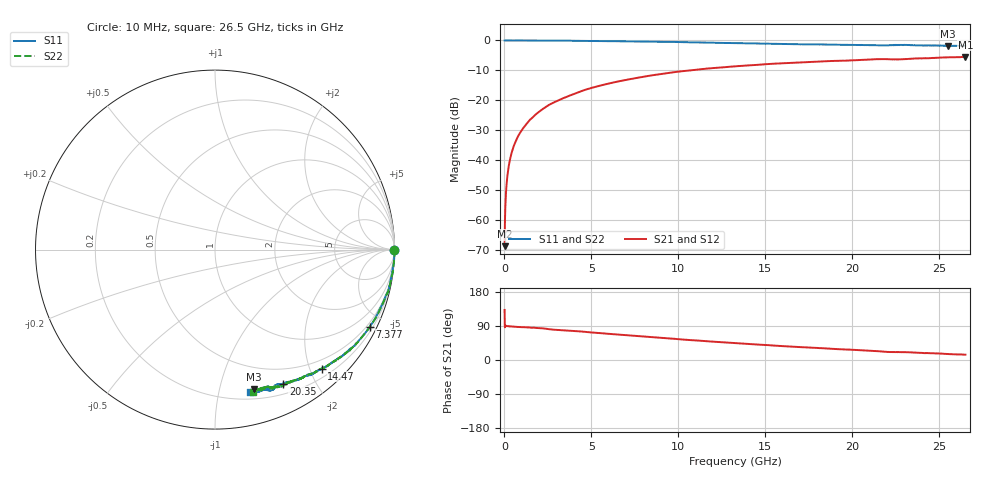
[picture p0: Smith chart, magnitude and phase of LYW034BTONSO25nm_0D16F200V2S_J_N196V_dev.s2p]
!Keysight Technologies,N5222B,MY61253708,A.15.00.15
!Date: Wednesday, June 19, 2024 10:41:30
!Correction: S11(C  2-Port  )
!S21(C  2-Port  )
!S12(C  2-Port  )
!S22(C  2-Port  )
!S2P File: Measurements: S11, S21, S12, S22:
# Hz S  RI  R 50
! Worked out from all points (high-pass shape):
!   2651 points, 10 MHz to 26.5 GHz, reference 50 ohm
!   highest |S21| = -5.47 dB at 26.5 GHz (marker M1); lowest = -68.7 dB at 10 MHz (marker M2)
!   |S21| within 3 dB of the highest: 13.6416 GHz to 13.65782 GHz (16.22 MHz wide, 0.119 % of centre); 13.7 GHz to end of sweep
!   lowest |S11| = -1.9 dB at 25.5 GHz (marker M3), VSWR 9.39, Z = 14.3 - j63.8 ohm
!   |S11| at or under -10 dB: nowhere
!   |S22| runs from -1.8 to 0.0 dB; largest |S21 - S12| = 0.0071
!   S11 on the Smith chart (normalised r, x): 10 MHz: open; 7.377 GHz: 0.35, -4.23; 14.47 GHz: 0.34, -2.20; 20.35 GHz: 0.32, -1.59; 26.5 GHz: 0.26, -1.25
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1e7  0.9985 -0.0034  -0.000246 0.000273  0.0002 0.000279  0.9983 -0.00217
6.997736e7  1 -0.00507  4.97e-05 0.00227  -7.54e-06 0.00225  0.9998 -0.00483
1.599434e8  0.9999 -0.0111  5.21e-05 0.00517  5.14e-05 0.00516  0.9997 -0.0104
2.099245e8  0.9998 -0.0138  8.86e-05 0.00677  8.74e-05 0.00677  0.9995 -0.0132
2.699019e8  0.9999 -0.0179  0.000184 0.00872  0.000134 0.0087  1 -0.0172
3.698642e8  0.9999 -0.0249  0.000298 0.0119  0.0003 0.0119  0.9995 -0.0241
5.098113e8  0.9986 -0.0332  0.000548 0.0164  0.000503 0.0164  0.9991 -0.0325
8.596792e8  0.998 -0.0557  0.00146 0.0275  0.00147 0.0276  0.9976 -0.0553
1.459453e9  0.991 -0.0958  0.00339 0.0471  0.0034 0.047  0.9936 -0.0921
2.339121e9  0.9825 -0.1488  0.00945 0.0761  0.0096 0.0762  0.9838 -0.149
3.208792e9  0.9729 -0.203  0.02 0.1015  0.0201 0.1016  0.9727 -0.2024
4.428332e9  0.9454 -0.2749  0.0365 0.1382  0.0366 0.1386  0.9472 -0.2722
5.817808e9  0.9099 -0.3487  0.0644 0.1743  0.0651 0.1746  0.9119 -0.349
7.377219e9  0.8628 -0.4289  0.1002 0.2074  0.1009 0.2074  0.8647 -0.4276
8.846664e9  0.8116 -0.4948  0.1393 0.233  0.1402 0.233  0.8129 -0.4938
1.3255e10  0.6406 -0.6369  0.2636 0.2595  0.265 0.2588  0.6436 -0.6365
1.447454e10  0.5951 -0.6631  0.2949 0.2567  0.2959 0.2561  0.5981 -0.6601
1.767333e10  0.4714 -0.7202  0.3692 0.2349  0.3717 0.2331  0.4804 -0.7182
2.035232e10  0.3811 -0.7468  0.4223 0.2077  0.4236 0.2056  0.3945 -0.747
2.209166e10  0.3368 -0.7572  0.453 0.1754  0.4539 0.1728  0.329 -0.7633
2.550038e10  0.2168 -0.7778  0.5032 0.1402  0.5039 0.1404  0.2361 -0.7799
2.65e10  0.1975 -0.7929  0.5169 0.1296  0.5155 0.1259  0.2096 -0.7908
